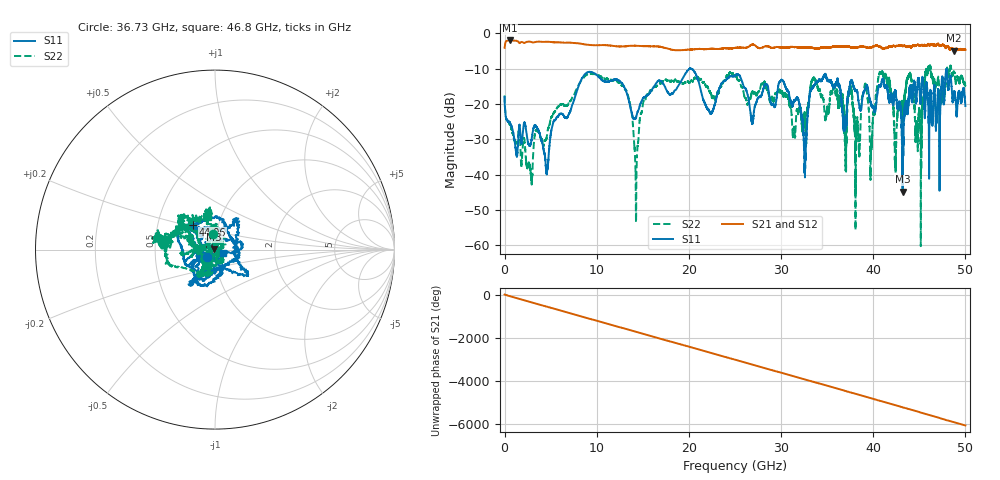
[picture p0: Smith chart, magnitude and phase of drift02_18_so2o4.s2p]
!Created with skrf (http://scikit-rf.org).
# Hz S RI R 50.0
!freq ReS11 ImS11 ReS21 ImS21 ReS12 ImS12 ReS22 ImS22
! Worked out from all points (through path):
!   10001 points, 300 kHz to 50 GHz, reference 50 ohm
!   highest |S21| = -1.99 dB at 555.3 MHz (marker M1); lowest = -4.9 dB at 48.77 GHz (marker M2)
!   group delay of S21, straight-line fit = 337 ps
!   lowest |S11| = -44.8 dB at 43.19 GHz (marker M3), VSWR 1.01, Z = 49.6 + j0.359 ohm
!   |S11| at or under -10 dB: start of sweep to 20.06 GHz; 20.20785 GHz to 20.21912 GHz (11.27 MHz wide, 0.0558 % of centre); 20.24 GHz to end of sweep (the widest 3 of 4)
!   |S22| runs from -60.2 to -9.0 dB; largest |S21 - S12| = 0.032
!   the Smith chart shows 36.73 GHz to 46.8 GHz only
!   S11 on the Smith chart (normalised r, x): 36.73 GHz: 0.91, -0.07; 44.06 GHz: 0.76, +0.22; 46.8 GHz: 1.10, -0.04
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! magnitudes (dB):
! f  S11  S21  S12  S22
! 300 kHz  -18.0  -4.1  -4.0  -17.6
! 555.3 MHz  -25.2  -2.0  -2.0  -25.9
! 4.565 GHz  -39.8  -2.4  -2.4  -29.3
! 8.335 GHz  -13.0  -2.9  -2.9  -13.2
! 13.01 GHz  -15.3  -3.7  -3.7  -15.6
! 14.28 GHz  -23.7  -3.5  -3.5  -49.5
! 16.67 GHz  -13.4  -3.7  -3.7  -14.5
! 25 GHz  -12.1  -4.1  -4.1  -12.0
! 30.18 GHz  -13.4  -4.1  -4.1  -16.8
! 32.56 GHz  -39.6  -3.9  -4.0  -24.4
! 33.34 GHz  -15.7  -4.0  -4.1  -13.6
! 36.73 GHz  -24.3  -3.7  -3.8  -20.9
! 38.28 GHz  -16.9  -3.9  -3.9  -25.0
! 39.14 GHz  -15.8  -3.8  -3.9  -14.2
! 39.8 GHz  -20.2  -4.0  -3.9  -30.4
! 41.67 GHz  -18.4  -3.8  -4.0  -12.7
! 43.19 GHz  -44.8  -3.6  -3.6  -21.4
! 44.06 GHz  -14.7  -3.9  -3.9  -11.8
! 44.99 GHz  -14.3  -3.4  -3.3  -21.8
! 46.8 GHz  -26.0  -3.4  -3.4  -14.7
! 48.77 GHz  -17.2  -4.9  -4.8  -10.9
! 50 GHz  -20.6  -4.6  -4.6  -14.8
